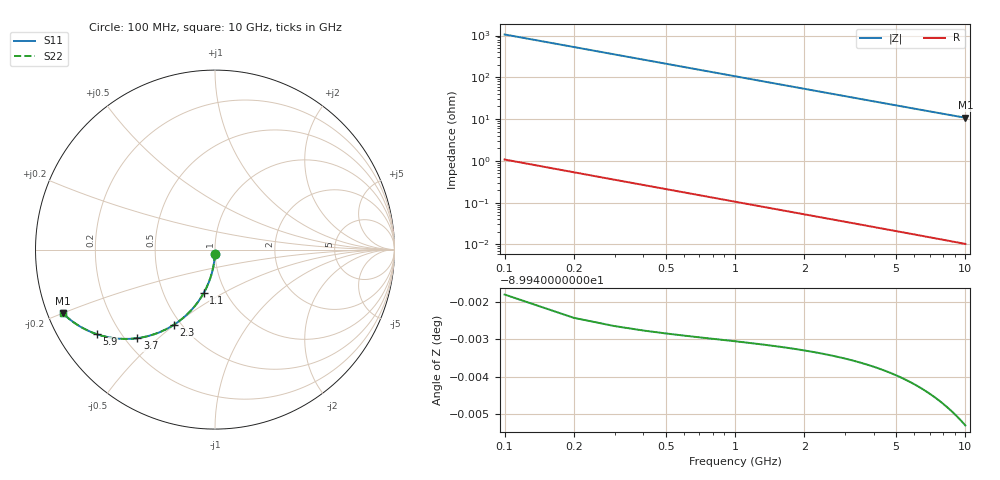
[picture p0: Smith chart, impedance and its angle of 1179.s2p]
# Hz S RI R 50.00
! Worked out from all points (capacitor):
!   100 points, 100 MHz to 10 GHz, reference 50 ohm
!   read as one part in shunt: C = 1.5 pF near 100 MHz
!   lowest |Z| = 10.7 ohm at 10 GHz (marker M1)
!   S11 on the Smith chart (normalised r, x): 100 MHz: 1.00, -0.05; 1.1 GHz: 0.79, -0.41; 2.3 GHz: 0.46, -0.50; 3.7 GHz: 0.25, -0.43; 5.9 GHz: 0.12, -0.32; 10 GHz: 0.04, -0.20
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1e8  -0.000563 -0.0236  0.9994 -0.0236  0.9994 -0.0236  -0.000563 -0.0236
2e8  -0.00225 -0.047  0.9977 -0.0472  0.9977 -0.0472  -0.00225 -0.047
3e8  -0.00504 -0.0703  0.9949 -0.0706  0.9949 -0.0706  -0.00504 -0.0703
4e8  -0.00891 -0.0934  0.991 -0.0938  0.991 -0.0938  -0.00891 -0.0934
5e8  -0.0138 -0.1162  0.9861 -0.1166  0.9861 -0.1166  -0.0138 -0.1162
6e8  -0.0198 -0.1386  0.9802 -0.1391  0.9802 -0.1391  -0.0198 -0.1386
7e8  -0.0267 -0.1605  0.9732 -0.1611  0.9732 -0.1611  -0.0267 -0.1605
9e8  -0.0434 -0.2028  0.9566 -0.2036  0.9566 -0.2036  -0.0434 -0.2028
1.1e9  -0.0634 -0.2427  0.9366 -0.2436  0.9366 -0.2436  -0.0634 -0.2427
1.4e9  -0.0986 -0.2971  0.9013 -0.2983  0.9013 -0.2983  -0.0986 -0.2971
1.8e9  -0.153 -0.3588  0.8469 -0.3603  0.8469 -0.3603  -0.153 -0.3588
2.3e9  -0.2276 -0.4178  0.7724 -0.4198  0.7724 -0.4198  -0.2276 -0.4178
2.8e9  -0.3037 -0.4582  0.6962 -0.4606  0.6962 -0.4606  -0.3037 -0.4582
3.4e9  -0.3912 -0.4861  0.6088 -0.489  0.6088 -0.489  -0.3912 -0.4861
3.7e9  -0.4319 -0.4933  0.568 -0.4964  0.568 -0.4964  -0.4319 -0.4933
4.4e9  -0.5178 -0.4973  0.4821 -0.5011  0.4821 -0.5011  -0.5178 -0.4973
5.1e9  -0.5903 -0.4891  0.4096 -0.4934  0.4096 -0.4934  -0.5903 -0.4891
5.9e9  -0.6582 -0.4713  0.3417 -0.4763  0.3417 -0.4763  -0.6582 -0.4713
6.7e9  -0.7127 -0.4491  0.2872 -0.4548  0.2872 -0.4548  -0.7127 -0.4491
7.5e9  -0.7564 -0.4255  0.2435 -0.4319  0.2435 -0.4319  -0.7564 -0.4255
8.4e9  -0.7956 -0.3991  0.2044 -0.4064  0.2044 -0.4064  -0.7956 -0.3991
1e10  -0.8463 -0.3558  0.1536 -0.3644  0.1536 -0.3644  -0.8463 -0.3558
